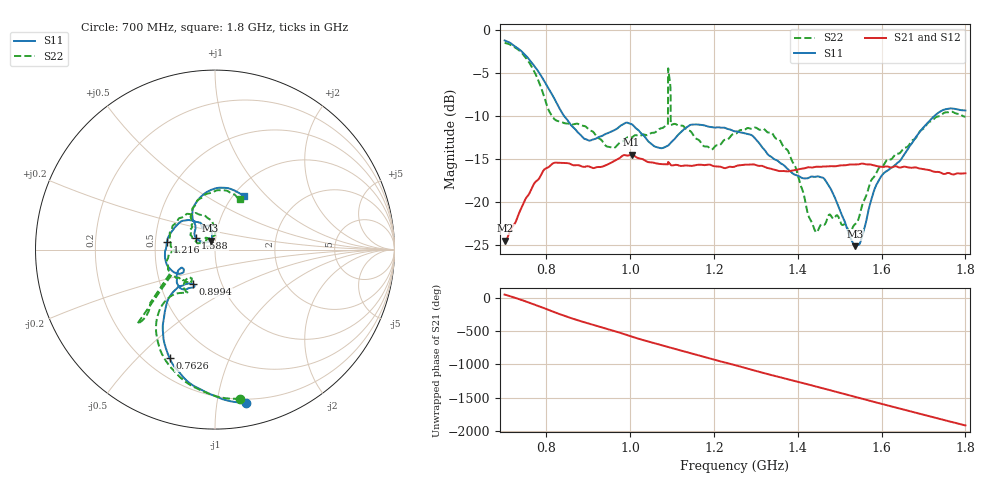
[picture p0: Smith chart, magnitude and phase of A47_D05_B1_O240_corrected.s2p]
! Created with skrf 1.9.0 (http://scikit-rf.org).
# Hz S RI R 50.0
!freq ReS11 ImS11 ReS21 ImS21 ReS12 ImS12 ReS22 ImS22
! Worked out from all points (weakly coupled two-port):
!   1601 points, 700 MHz to 1.8 GHz, reference 50 ohm
!   highest |S21| = -14.51 dB at 1.003 GHz (marker M1); lowest = -24.5 dB at 701.4 MHz (marker M2)
!   lowest |S11| = -25.2 dB at 1.537 GHz (marker M3), VSWR 1.12, Z = 47.4 + j4.7 ohm
!   |S11| at or under -10 dB: 841.9 MHz to 1.726 GHz (884.2 MHz wide, 68.9 % of centre)
!   |S22| runs from -23.6 to -1.5 dB; largest |S21 - S12| = 0.0035
!   S11 on the Smith chart (normalised r, x): 700 MHz: 0.17, -1.21; 762.6 MHz: 0.29, -0.63; 899.4 MHz: 0.73, -0.30; 1.216 GHz: 0.58, +0.06; 1.588 GHz: 0.80, +0.11; 1.8 GHz: 1.12, +0.76
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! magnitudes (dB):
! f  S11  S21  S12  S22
! 700 MHz  -1.2  -24.5  -24.3  -1.5
! 701.4 MHz  -1.2  -24.5  -24.2  -1.5
! 762.6 MHz  -3.7  -18.7  -18.6  -4.1
! 816.9 MHz  -7.8  -15.5  -15.6  -10.3
! 883.6 MHz  -12.3  -15.9  -15.8  -11.1
! 899.4 MHz  -12.8  -15.9  -15.9  -11.5
! 955.8 MHz  -11.8  -15.4  -15.4  -13.7
! 1.003 GHz  -11.0  -14.5  -14.6  -12.5
! 1.067 GHz  -13.7  -15.6  -15.5  -11.6
! 1.084 GHz  -13.6  -15.6  -15.6  -11.1
! 1.096 GHz  -13.1  -15.7  -15.7  -6.6
! 1.102 GHz  -12.8  -15.8  -15.7  -11.0
! 1.216 GHz  -11.4  -15.9  -15.9  -13.3
! 1.25 GHz  -11.8  -15.9  -15.8  -12.1
! 1.357 GHz  -15.4  -16.4  -16.4  -12.8
! 1.434 GHz  -17.1  -16.0  -16.0  -22.4
! 1.472 GHz  -18.0  -15.9  -15.9  -21.7
! 1.537 GHz  -25.2  -15.6  -15.6  -22.6
! 1.588 GHz  -17.9  -15.8  -15.8  -16.5
! 1.617 GHz  -16.3  -15.9  -15.9  -15.0
! 1.733 GHz  -9.7  -16.5  -16.5  -10.1
! 1.8 GHz  -9.4  -16.7  -16.7  -10.1
